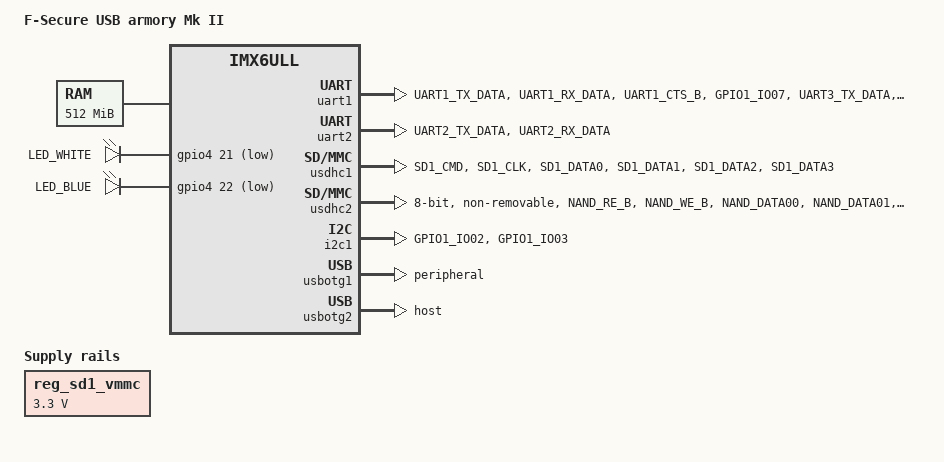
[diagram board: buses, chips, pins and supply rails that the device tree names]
/*
 * USB armory Mk II device tree file
 * https://github.com/inversepath/usbarmory
 *
 * Copyright (C) 2020, F-Secure Corporation
 * Andrej Rosano <andrej.rosano@f-secure.com>
 *
 * This file is dual-licensed: you can use it either under the terms
 * of the GPL or the X11 license, at your option. Note that this dual
 * licensing only applies to this file, and not this project as a
 * whole.
 *
 *  a) This file is free software; you can redistribute it and/or
 *     modify it under the terms of the GNU General Public License as
 *     published by the Free Software Foundation; either version 2 of the
 *     License, or (at your option) any later version.
 *
 *     This file is distributed in the hope that it will be useful,
 *     but WITHOUT ANY WARRANTY; without even the implied warranty of
 *     MERCHANTABILITY or FITNESS FOR A PARTICULAR PURPOSE.  See the
 *     GNU General Public License for more details.
 *
 * Or, alternatively,
 *
 *  b) Permission is hereby granted, free of charge, to any person
 *     obtaining a copy of this software and associated documentation
 *     files (the "Software"), to deal in the Software without
 *     restriction, including without limitation the rights to use,
 *     copy, modify, merge, publish, distribute, sublicense, and/or
 *     sell copies of the Software, and to permit persons to whom the
 *     Software is furnished to do so, subject to the following
 *     conditions:
 *
 *     The above copyright notice and this permission notice shall be
 *     included in all copies or substantial portions of the Software.
 *
 *     THE SOFTWARE IS PROVIDED "AS IS", WITHOUT WARRANTY OF ANY KIND,
 *     EXPRESS OR IMPLIED, INCLUDING BUT NOT LIMITED TO THE WARRANTIES
 *     OF MERCHANTABILITY, FITNESS FOR A PARTICULAR PURPOSE AND
 *     NONINFRINGEMENT. IN NO EVENT SHALL THE AUTHORS OR COPYRIGHT
 *     HOLDERS BE LIABLE FOR ANY CLAIM, DAMAGES OR OTHER LIABILITY,
 *     WHETHER IN AN ACTION OF CONTRACT, TORT OR OTHERWISE, ARISING
 *     FROM, OUT OF OR IN CONNECTION WITH THE SOFTWARE OR THE USE OR
 *     OTHER DEALINGS IN THE SOFTWARE.
 */

/dts-v1/;

#include "imx6ulz.dtsi"

/ {
	model = "F-Secure USB armory Mk II";
	compatible = "inversepath,imx6ulz-usbarmory-mkII", "fsl,imx6ull";

	chosen {
		stdout-path = &uart2;
	};

	memory {
		device_type = "memory";
		reg = <0x80000000 0x20000000>;
	};

	leds {
		compatible = "gpio-leds";
		pinctrl-names = "default";
		pinctrl-0 = <&pinctrl_led>;

		led-white {
			label = "LED_WHITE";
			gpios = <&gpio4 21 GPIO_ACTIVE_LOW>;
			linux,default-trigger = "heartbeat";
		};

		led-blue {
			label = "LED_BLUE";
			gpios = <&gpio4 22 GPIO_ACTIVE_LOW>;
		};
	};

	regulators {
		compatible = "simple-bus";
		#address-cells = <1>;
		#size-cells = <0>;

		reg_sd1_vmmc: sd1_regulator {
			compatible = "regulator-fixed";
			regulator-name = "VSD_3V3";
			regulator-min-microvolt = <3300000>;
			regulator-max-microvolt = <3300000>;
		};
	};
};

&uart1 {
	pinctrl-names = "default";
	pinctrl-0 = <&pinctrl_bluetooth>;
	status = "okay";
};

&uart2 {
	pinctrl-names = "default";
	pinctrl-0 = <&pinctrl_uart2>;
	status = "okay";
};

&usdhc1 {
	pinctrl-names = "default";
	pinctrl-0 = <&pinctrl_usdhc1>;
	no-1-8-v;
	keep-power-in-suspend;
	wakeup-source;
	status = "okay";
};

&usdhc2 {
	pinctrl-names = "default", "state_100mhz", "state_200mhz";
	pinctrl-0 = <&pinctrl_usdhc2>;
	pinctrl-1 = <&pinctrl_usdhc2_100mhz>;
	pinctrl-2 = <&pinctrl_usdhc2_200mhz>;
	bus-width = <8>;
	non-removable;
	status = "okay";
};

&i2c1 {
	pinctrl-0 = <&pinctrl_i2c1>;
	status = "okay";
};

&iomuxc {
	pinctrl_uart2: uart2grp {
		fsl,pins = <
			MX6UL_PAD_UART2_TX_DATA__UART2_DCE_TX	0x1b0b1
			MX6UL_PAD_UART2_RX_DATA__UART2_DCE_RX	0x1b0b1
		>;
	};

	pinctrl_bluetooth: uart1grp {
		fsl,pins = <
			MX6UL_PAD_UART1_TX_DATA__UART1_DCE_TX	0x1b0b0 /* BT_UART_TX  */
			MX6UL_PAD_UART1_RX_DATA__UART1_DCE_RX	0x1b0b0 /* BT_UART_RX  */
			MX6UL_PAD_UART1_CTS_B__UART1_DCE_CTS	0x1b0b0 /* BT_UART_CTS */
			MX6UL_PAD_GPIO1_IO07__UART1_DCE_RTS	0x130b0 /* BT_UART_RTS */
			MX6UL_PAD_UART3_TX_DATA__GPIO1_IO24	0x1f020 /* BT_UART_DSR */
			MX6UL_PAD_UART3_RX_DATA__GPIO1_IO25	0x10020 /* BT_UART_DTR */
			MX6UL_PAD_GPIO1_IO04__GPIO1_IO04	0x1f020 /* BT_SWDCLK   */
			MX6UL_PAD_GPIO1_IO06__GPIO1_IO06	0x1f020 /* BT_SWDIO    */
			MX6UL_PAD_GPIO1_IO09__GPIO1_IO09	0x1f020 /* BT_RESET    */
			MX6UL_PAD_UART3_RTS_B__GPIO1_IO27	0x1f020 /* BT_SWITCH_1 */
			MX6UL_PAD_UART3_CTS_B__GPIO1_IO26	0x1f020 /* BT_SWITCH_2 */
		>;
	};

	pinctrl_i2c1: i2c1grp {
		fsl,pins = <
			MX6UL_PAD_GPIO1_IO02__I2C1_SCL	0x4001b8b0
			MX6UL_PAD_GPIO1_IO03__I2C1_SDA	0x4001b8b0
		>;
	};

	pinctrl_led: ledgrp {
		fsl,pins = <
			MX6UL_PAD_CSI_DATA00__GPIO4_IO21	0x1f020
			MX6UL_PAD_CSI_DATA01__GPIO4_IO22	0x1f020
		>;
	};

	pinctrl_usdhc1: usdhc1grp {
		fsl,pins = <
			MX6UL_PAD_SD1_CMD__USDHC1_CMD		0x1f019
			MX6UL_PAD_SD1_CLK__USDHC1_CLK		0x1f019
			MX6UL_PAD_SD1_DATA0__USDHC1_DATA0	0x1f019
			MX6UL_PAD_SD1_DATA1__USDHC1_DATA1	0x1f019
			MX6UL_PAD_SD1_DATA2__USDHC1_DATA2	0x1f019
			MX6UL_PAD_SD1_DATA3__USDHC1_DATA3	0x1f019
		>;
	};

	pinctrl_usdhc2: usdhc2grp {
		fsl,pins = <
			MX6UL_PAD_NAND_RE_B__USDHC2_CLK		0x10069
			MX6UL_PAD_NAND_WE_B__USDHC2_CMD		0x17059
			MX6UL_PAD_NAND_DATA00__USDHC2_DATA0	0x17059
			MX6UL_PAD_NAND_DATA01__USDHC2_DATA1	0x17059
			MX6UL_PAD_NAND_DATA02__USDHC2_DATA2	0x17059
			MX6UL_PAD_NAND_DATA03__USDHC2_DATA3	0x17059
			MX6UL_PAD_NAND_DATA04__USDHC2_DATA4	0x17059
			MX6UL_PAD_NAND_DATA05__USDHC2_DATA5	0x17059
			MX6UL_PAD_NAND_DATA06__USDHC2_DATA6	0x17059
			MX6UL_PAD_NAND_DATA07__USDHC2_DATA7	0x17059
		>;
	};

	pinctrl_usdhc2_100mhz: usdhc2grp_100mhz {
		fsl,pins = <
			MX6UL_PAD_NAND_RE_B__USDHC2_CLK		0x100b9
			MX6UL_PAD_NAND_WE_B__USDHC2_CMD		0x170b9
			MX6UL_PAD_NAND_DATA00__USDHC2_DATA0	0x170b9
			MX6UL_PAD_NAND_DATA01__USDHC2_DATA1	0x170b9
			MX6UL_PAD_NAND_DATA02__USDHC2_DATA2	0x170b9
			MX6UL_PAD_NAND_DATA03__USDHC2_DATA3	0x170b9
			MX6UL_PAD_NAND_DATA04__USDHC2_DATA4	0x170b9
			MX6UL_PAD_NAND_DATA05__USDHC2_DATA5	0x170b9
			MX6UL_PAD_NAND_DATA06__USDHC2_DATA6	0x170b9
			MX6UL_PAD_NAND_DATA07__USDHC2_DATA7	0x170b9
		>;
	};

	pinctrl_usdhc2_200mhz: usdhc2grp_200mhz {
		fsl,pins = <
			MX6UL_PAD_NAND_RE_B__USDHC2_CLK		0x100f9
			MX6UL_PAD_NAND_WE_B__USDHC2_CMD		0x170f9
			MX6UL_PAD_NAND_DATA00__USDHC2_DATA0	0x170f9
			MX6UL_PAD_NAND_DATA01__USDHC2_DATA1	0x170f9
			MX6UL_PAD_NAND_DATA02__USDHC2_DATA2	0x170f9
			MX6UL_PAD_NAND_DATA03__USDHC2_DATA3	0x170f9
			MX6UL_PAD_NAND_DATA04__USDHC2_DATA4	0x170f9
			MX6UL_PAD_NAND_DATA05__USDHC2_DATA5	0x170f9
			MX6UL_PAD_NAND_DATA06__USDHC2_DATA6	0x170f9
			MX6UL_PAD_NAND_DATA07__USDHC2_DATA7	0x170f9
		>;
	};
};

&usbotg1 {
	dr_mode = "peripheral";
	disable-over-current;
	tpl-support;
	status = "okay";
};

&usbotg2 {
	dr_mode = "host";
	disable-over-current;
	tpl-support;
	status = "okay";
};
